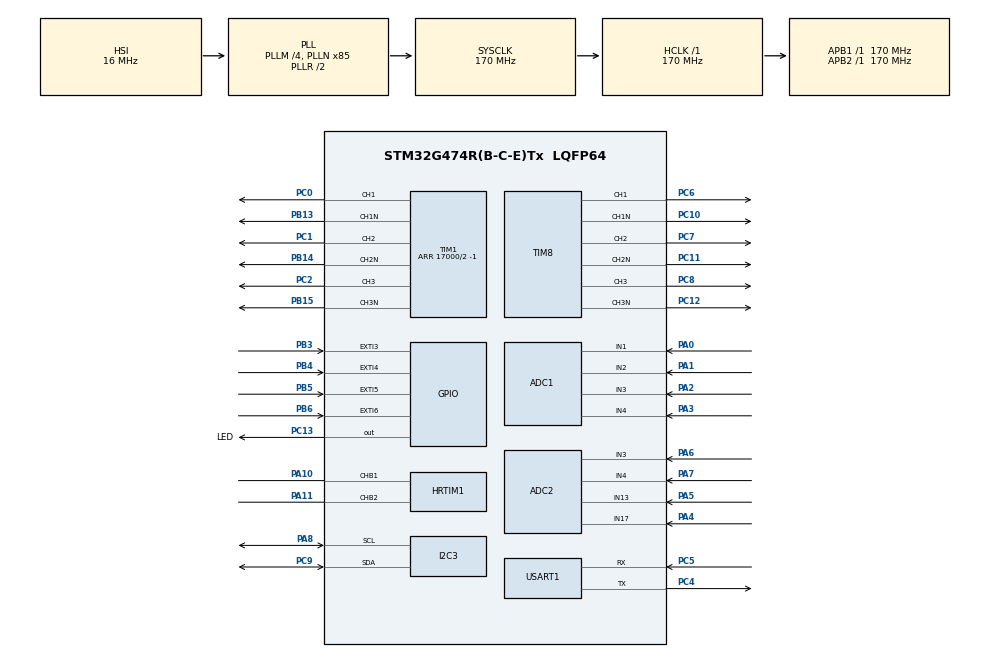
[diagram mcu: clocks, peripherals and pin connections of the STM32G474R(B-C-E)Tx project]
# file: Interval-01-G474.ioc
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ADC1.Channel-0\#ChannelRegularConversion=ADC_CHANNEL_1
ADC1.Channel-1\#ChannelRegularConversion=ADC_CHANNEL_2
ADC1.Channel-2\#ChannelRegularConversion=ADC_CHANNEL_3
ADC1.Channel-3\#ChannelRegularConversion=ADC_CHANNEL_4
ADC1.DMAContinuousRequests=ENABLE
ADC1.EOCSelection=ADC_EOC_SEQ_CONV
ADC1.ExternalTrigConv=ADC_EXTERNALTRIG_T1_TRGO
ADC1.NbrOfConversion=4
ADC1.NbrOfConversionFlag=1
ADC1.OffsetNumber-0\#ChannelRegularConversion=ADC_OFFSET_NONE
ADC1.OffsetNumber-1\#ChannelRegularConversion=ADC_OFFSET_NONE
ADC1.OffsetNumber-2\#ChannelRegularConversion=ADC_OFFSET_NONE
ADC1.OffsetNumber-3\#ChannelRegularConversion=ADC_OFFSET_NONE
ADC1.Rank-0\#ChannelRegularConversion=1
ADC1.Rank-1\#ChannelRegularConversion=2
ADC1.Rank-2\#ChannelRegularConversion=3
ADC1.Rank-3\#ChannelRegularConversion=4
ADC1.SamplingTime-0\#ChannelRegularConversion=ADC_SAMPLETIME_12CYCLES_5
ADC1.SamplingTime-1\#ChannelRegularConversion=ADC_SAMPLETIME_12CYCLES_5
ADC1.SamplingTime-2\#ChannelRegularConversion=ADC_SAMPLETIME_12CYCLES_5
ADC1.SamplingTime-3\#ChannelRegularConversion=ADC_SAMPLETIME_12CYCLES_5
ADC1.master=1
ADC2.Channel-0\#ChannelRegularConversion=ADC_CHANNEL_17
ADC2.NbrOfConversionFlag=1
ADC2.OffsetNumber-0\#ChannelRegularConversion=ADC_OFFSET_NONE
ADC2.Rank-0\#ChannelRegularConversion=1
ADC2.SamplingTime-0\#ChannelRegularConversion=ADC_SAMPLETIME_2CYCLES_5
Dma.ADC1.0.Direction=DMA_PERIPH_TO_MEMORY
Dma.ADC1.0.EventEnable=DISABLE
Dma.ADC1.0.Instance=DMA1_Channel1
Dma.ADC1.0.MemDataAlignment=DMA_MDATAALIGN_HALFWORD
Dma.ADC1.0.MemInc=DMA_MINC_ENABLE
Dma.ADC1.0.Mode=DMA_CIRCULAR
Dma.ADC1.0.PeriphDataAlignment=DMA_PDATAALIGN_HALFWORD
Dma.ADC1.0.PeriphInc=DMA_PINC_DISABLE
Dma.ADC1.0.Polarity=HAL_DMAMUX_REQ_GEN_RISING
Dma.ADC1.0.Priority=DMA_PRIORITY_MEDIUM
Dma.ADC1.0.RequestNumber=1
Dma.ADC1.0.SignalID=NONE
Dma.ADC1.0.SyncEnable=DISABLE
Dma.ADC1.0.SyncPolarity=HAL_DMAMUX_SYNC_NO_EVENT
Dma.ADC1.0.SyncRequestNumber=1
Dma.ADC1.0.SyncSignalID=NONE
Dma.Request0=ADC1
I2C3.Timing=0x40B285C2
Mcu.Family=STM32G4
Mcu.Name=STM32G474R(B-C-E)Tx
Mcu.Package=LQFP64
NVIC.DMA1_Channel1_IRQn=true\:0\:0\:false\:false\:true\:false\:true\:true
NVIC.PriorityGroup=NVIC_PRIORITYGROUP_4
PA0.Mode=IN1-Single-Ended
PA0.Signal=ADC1_IN1
PA1.Mode=IN2-Single-Ended
PA1.Signal=ADC1_IN2
PA10.Mode=Output_TB1TB2
PA10.Signal=HRTIM1_CHB1
PA11.Mode=Output_TB1TB2
PA11.Signal=HRTIM1_CHB2
PA13.Mode=Serial_Wire
PA13.Signal=SYS_JTMS-SWDIO
PA14.Mode=Serial_Wire
PA14.Signal=SYS_JTCK-SWCLK
PA2.Mode=IN3-Single-Ended
PA2.Signal=ADC1_IN3
PA3.Mode=IN4-Single-Ended
PA3.Signal=ADC1_IN4
PA4.Mode=IN17-Single-Ended
PA4.Signal=ADC2_IN17
PA5.Mode=IN13-Single-Ended
PA5.Signal=ADC2_IN13
PA6.Mode=IN3-Differential
PA6.Signal=ADC2_IN3
PA7.Mode=IN3-Differential
PA7.Signal=ADC2_IN4
PA8.Mode=I2C
PA8.Signal=I2C3_SCL
PB13.Mode=PWM Generation1 CH1 CH1N
PB13.Signal=TIM1_CH1N
PB14.Mode=PWM Generation2 CH2 CH2N
PB14.Signal=TIM1_CH2N
PB15.Mode=PWM Generation3 CH3 CH3N
PB15.Signal=TIM1_CH3N
PB3.GPIO_PuPd=GPIO_PULLUP
PB3.Signal=GPXTI3
PB4.GPIO_PuPd=GPIO_PULLUP
PB4.Signal=GPXTI4
PB5.GPIO_PuPd=GPIO_PULLUP
PB5.Signal=GPXTI5
PB6.GPIO_PuPd=GPIO_PULLUP
PB6.Signal=GPXTI6
PC0.Signal=S_TIM1_CH1
PC1.Signal=S_TIM1_CH2
PC10.Mode=PWM Generation1 CH1 CH1N
PC10.Signal=TIM8_CH1N
PC11.Mode=PWM Generation2 CH2 CH2N
PC11.Signal=TIM8_CH2N
PC12.Mode=PWM Generation3 CH3 CH3N
PC12.Signal=TIM8_CH3N
PC13.GPIO_Label=LED
PC13.GPIO_PuPd=GPIO_PULLDOWN
PC13.Signal=GPIO_Output
PC14-OSC32_IN.Mode=LSE-External-Oscillator
PC14-OSC32_IN.Signal=RCC_OSC32_IN
PC15-OSC32_OUT.Mode=LSE-External-Oscillator
PC15-OSC32_OUT.Signal=RCC_OSC32_OUT
PC2.Signal=S_TIM1_CH3
PC4.Mode=Asynchronous
PC4.Signal=USART1_TX
PC5.Mode=Asynchronous
PC5.Signal=USART1_RX
PC6.Signal=S_TIM8_CH1
PC7.Signal=S_TIM8_CH2
PC8.Signal=S_TIM8_CH3
PC9.Mode=I2C
PC9.Signal=I2C3_SDA
PF0-OSC_IN.Mode=HSE-External-Oscillator
PF0-OSC_IN.Signal=RCC_OSC_IN
PF1-OSC_OUT.Mode=HSE-External-Oscillator
PF1-OSC_OUT.Signal=RCC_OSC_OUT
ProjectManager.HeapSize=0x200
ProjectManager.StackSize=0x400
ProjectManager.TargetToolchain=CMake
RCC.ADC12Freq_Value=170000000
RCC.ADC345Freq_Value=170000000
RCC.AHBFreq_Value=170000000
RCC.APB1Freq_Value=170000000
RCC.APB1TimFreq_Value=170000000
RCC.APB2Freq_Value=170000000
RCC.APB2TimFreq_Value=170000000
RCC.CortexFreq_Value=170000000
RCC.EXTERNAL_CLOCK_VALUE=12288000
RCC.HCLKFreq_Value=170000000
RCC.HSE_VALUE=8000000
RCC.HSI48_VALUE=48000000
RCC.HSI_VALUE=16000000
RCC.PLLM=RCC_PLLM_DIV4
RCC.PLLN=85
RCC.SYSCLKFreq_VALUE=170000000
RCC.SYSCLKSource=RCC_SYSCLKSOURCE_PLLCLK
RCC.USBFreq_Value=170000000
RCC.VCOOutputFreq_Value=340000000
SH.S_TIM1_CH1.0=TIM1_CH1,PWM Generation1 CH1 CH1N
SH.S_TIM1_CH2.0=TIM1_CH2,PWM Generation2 CH2 CH2N
SH.S_TIM1_CH3.0=TIM1_CH3,PWM Generation3 CH3 CH3N
SH.S_TIM8_CH1.0=TIM8_CH1,PWM Generation1 CH1 CH1N
SH.S_TIM8_CH2.0=TIM8_CH2,PWM Generation2 CH2 CH2N
SH.S_TIM8_CH3.0=TIM8_CH3,PWM Generation3 CH3 CH3N
STMicroelectronics.X-CUBE-ALGOBUILD.1.5.0.LibraryCcDSPOoLibraryJjDSPOoLibrary=true
TIM1.AutoReloadPreload=TIM_AUTORELOAD_PRELOAD_ENABLE
TIM1.Channel-Output\ Compare3\ CH3\ CH3N=TIM_CHANNEL_3
TIM1.Channel-PWM\ Generation1\ CH1\ CH1N=TIM_CHANNEL_1
TIM1.Channel-PWM\ Generation2\ CH2\ CH2N=TIM_CHANNEL_2
TIM1.Channel-PWM\ Generation3\ CH3\ CH3N=TIM_CHANNEL_3
TIM1.CounterMode=TIM_COUNTERMODE_CENTERALIGNED1
TIM1.DeadTime=100
TIM1.OCMode_PWM-PWM\ Generation1\ CH1\ CH1N=TIM_OCMODE_PWM2
TIM1.OCMode_PWM-PWM\ Generation2\ CH2\ CH2N=TIM_OCMODE_PWM2
TIM1.PeriodNoDither=17000/2 -1
TIM1.PulseNoDither_1=20
TIM1.PulseNoDither_2=20
TIM1.RepetitionCounter=1
TIM1.TIM_MasterOutputTrigger=TIM_TRGO_UPDATE
TIM8.Channel-PWM\ Generation1\ CH1\ CH1N=TIM_CHANNEL_1
TIM8.Channel-PWM\ Generation2\ CH2\ CH2N=TIM_CHANNEL_2
TIM8.Channel-PWM\ Generation3\ CH3\ CH3N=TIM_CHANNEL_3
USART1.VirtualMode-Asynchronous=VM_ASYNC
VP_STMicroelectronics.X-CUBE-ALGOBUILD_VS_DSPOoLibraryJjLibrary_1.5.0_1.5.0.Mode=DSPOoLibraryJjLibrary
VP_SYS_VS_DBSignals.Mode=DisableDeadBatterySignals
VP_TIM1_VS_ClockSourceINT.Mode=Internal
VP_TIM8_VS_ClockSourceINT.Mode=Internal
board=custom

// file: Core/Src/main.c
/* USER CODE BEGIN Header */
/**
  ******************************************************************************
  * @file           : main.c
  * @brief          : Main program body
  ******************************************************************************
  * @attention
  *
  * Copyright (c) 2026 STMicroelectronics.
  * All rights reserved.
  *
  * This software is licensed under terms that can be found in the LICENSE file
  * in the root directory of this software component.
  * If no LICENSE file comes with this software, it is provided AS-IS.
  *
  ******************************************************************************
  */
/* USER CODE END Header */
#include "main.h"
#include "adc.h"
#include "dma.h"
#include "hrtim.h"
#include "i2c.h"
#include "tim.h"
#include "usart.h"
#include "gpio.h"

/* USER CODE BEGIN Includes */
#include "stdio.h"
#include "controller.h"
#include "inverter.h"
//#include "oled_buffer.h"
/* USER CODE END Includes */

/* USER CODE BEGIN PD */
// 实际值计算公式 signal = (ADC * ADC_resolution - ADC_CHx_bias) * ADC_CHx_ratio
#define ADC_resolution 3.3/4096	// 每位对应电压
#define ADC_CH1_ratio 37.7931f	// ADC电压每伏对应实际电压
#define ADC_CH1_bias 1.6766f		// ADC电压偏置
#define ADC_CH2_ratio 4.01193f
#define ADC_CH2_bias 1.4863f
#define ADC_CH3_ratio 1.0f
#define ADC_CH3_bias 1.68f
#define ADC_CH4_ratio 1.0f
#define ADC_CH4_bias 1.68f
// 交流电压使用1通道
#define AC_U ADC_voltage[0]
// 电感电流使用2通道
#define L_I ADC_voltage[1]
// 直流电压使用3通道
#define DC_U ADC_voltage[2]
/* 图腾柱拓扑
 *					----------------------Vdc+
 *					|		|		|
 *					Q1		Q3		|
 * Vac+ ----UUU-----|		|		|
 * 					|		|		=
 * Vac- ----UUU-------------|		|
 * 					Q2		Q4		|
 * 					|		|		|
 * 					----------------------Vdc-
 * Q1Q2慢管，Q3Q4快管
 * Q1Q2连接TIM1_CH1_CH1N
 * 		Vac>0.1V(0.1V作为软开关),duty1=1,
 * Q3Q4连接TIM1_CH2_CH2N
 *
*/

/* USER CODE END PD */

/* USER CODE BEGIN PV */

// DC->AC 电压电流环PI结构体
extern PID_Struct ac_U_PI;
extern PID_Struct ac_I_PI;
extern PID_Struct ac_V_PI;

// 采样ADC值
uint16_t ADC_value[4] = {0}; // {ac_U_value, ac_I_value, dc_U_value, dc_I_value}

// 转换电压值
float ADC_voltage[4] = {0}; // {ac_U_value, ac_I_value, dc_U_value, dc_I_value}

// 中断标志位
uint16_t adc_conv_complete_flag = 0;

/* USER CODE END PV */

void SystemClock_Config(void);

int main(void)
{

  /* MCU Configuration--------------------------------------------------------*/

  /* Reset of all peripherals, Initializes the Flash interface and the Systick. */
  HAL_Init();

  /* Configure the system clock */
  SystemClock_Config();

  /* Initialize all configured peripherals */
  MX_GPIO_Init();
  MX_DMA_Init();
  MX_ADC1_Init();
  MX_ADC2_Init();
  MX_HRTIM1_Init();
  MX_I2C3_Init();
  MX_TIM1_Init();
  MX_TIM8_Init();
  MX_USART1_UART_Init();
  /* USER CODE BEGIN 2 */

  Inverter_Init();

  // 开启定时器TIM1中断模式
  HAL_TIM_Base_Start_IT(&htim1);
  HAL_TIM_PWM_Start(&htim1, TIM_CHANNEL_1);
  HAL_TIMEx_PWMN_Start(&htim1, TIM_CHANNEL_1);
  HAL_TIM_PWM_Start(&htim1, TIM_CHANNEL_2);
  HAL_TIMEx_PWMN_Start(&htim1, TIM_CHANNEL_2);
  // ADC校准
  HAL_ADCEx_Calibration_Start(&hadc1, ADC_SINGLE_ENDED);
  // 开启DMA自动采样
  HAL_ADC_Start_DMA(&hadc1, (uint32_t *)&ADC_value, 4);

  /* USER CODE END 2 */

  /* Infinite loop */
  /* USER CODE BEGIN WHILE */
  while (1)
  {
      if(adc_conv_complete_flag == 1)
      {
          adc_conv_complete_flag = 0;

    	  // 双环 电压环 PI + 电流环 PR
          Inverter_Loop_With_ALL(AC_U, L_I, DC_U);

    	  // 单环 电压环 PI
    	  // Inverter_Loop_With_Voltage(AC_U);

    	  // 开环
    	  // Inverter_Loop_With_None();

      }

    /* USER CODE END WHILE */

  }
}

void SystemClock_Config(void)
{
  RCC_OscInitTypeDef RCC_OscInitStruct = {0};
  RCC_ClkInitTypeDef RCC_ClkInitStruct = {0};

  /** Configure the main internal regulator output voltage
  */
  HAL_PWREx_ControlVoltageScaling(PWR_REGULATOR_VOLTAGE_SCALE1_BOOST);

  /** Initializes the RCC Oscillators according to the specified parameters
  * in the RCC_OscInitTypeDef structure.
  */
  RCC_OscInitStruct.OscillatorType = RCC_OSCILLATORTYPE_HSI;
  RCC_OscInitStruct.HSIState = RCC_HSI_ON;
  RCC_OscInitStruct.HSICalibrationValue = RCC_HSICALIBRATION_DEFAULT;
  RCC_OscInitStruct.PLL.PLLState = RCC_PLL_ON;
  RCC_OscInitStruct.PLL.PLLSource = RCC_PLLSOURCE_HSI;
  RCC_OscInitStruct.PLL.PLLM = RCC_PLLM_DIV4;
  RCC_OscInitStruct.PLL.PLLN = 85;
  RCC_OscInitStruct.PLL.PLLP = RCC_PLLP_DIV2;
  RCC_OscInitStruct.PLL.PLLQ = RCC_PLLQ_DIV2;
  RCC_OscInitStruct.PLL.PLLR = RCC_PLLR_DIV2;
  if (HAL_RCC_OscConfig(&RCC_OscInitStruct) != HAL_OK)
  {
    Error_Handler();
  }

  /** Initializes the CPU, AHB and APB buses clocks
  */
  RCC_ClkInitStruct.ClockType = RCC_CLOCKTYPE_HCLK|RCC_CLOCKTYPE_SYSCLK
                              |RCC_CLOCKTYPE_PCLK1|RCC_CLOCKTYPE_PCLK2;
  RCC_ClkInitStruct.SYSCLKSource = RCC_SYSCLKSOURCE_PLLCLK;
  RCC_ClkInitStruct.AHBCLKDivider = RCC_SYSCLK_DIV1;
  RCC_ClkInitStruct.APB1CLKDivider = RCC_HCLK_DIV1;
  RCC_ClkInitStruct.APB2CLKDivider = RCC_HCLK_DIV1;

  if (HAL_RCC_ClockConfig(&RCC_ClkInitStruct, FLASH_LATENCY_4) != HAL_OK)
  {
    Error_Handler();
  }
}

void Error_Handler(void)
{
  __disable_irq();
  while (1)
  {
  }
}
